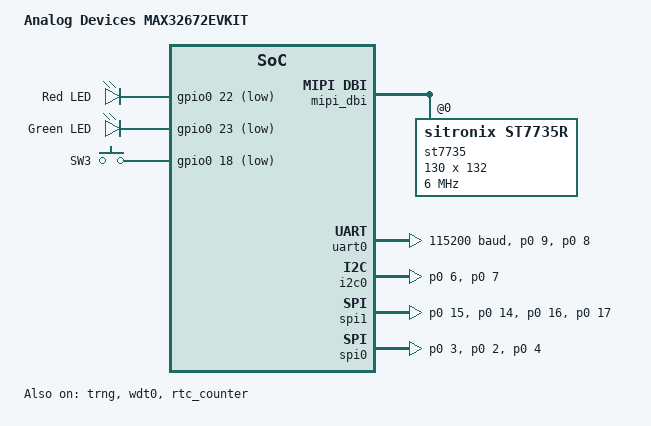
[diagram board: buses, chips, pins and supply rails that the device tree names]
/*
 * Copyright (c) 2024 Analog Devices, Inc.
 *
 * SPDX-License-Identifier: Apache-2.0
 */

/dts-v1/;

#include <adi/max32/max32672.dtsi>
#include <adi/max32/max32672-pinctrl.dtsi>
#include <zephyr/dt-bindings/gpio/adi-max32-gpio.h>
#include <zephyr/dt-bindings/input/input-event-codes.h>
#include <zephyr/dt-bindings/mipi_dbi/mipi_dbi.h>

/ {
	model = "Analog Devices MAX32672EVKIT";
	compatible = "adi,max32672evkit";

	chosen {
		zephyr,console = &uart0;
		zephyr,shell-uart = &uart0;
		zephyr,sram = &sram3;
		zephyr,flash = &flash0;
		zephyr,display = &st7735;
	};

	leds {
		compatible = "gpio-leds";
		led1: led_1 {
			gpios = <&gpio0 22 GPIO_ACTIVE_LOW>;
			label = "Red LED";
		};
		led2: led_2 {
			gpios = <&gpio0 23 GPIO_ACTIVE_LOW>;
			label = "Green LED";
		};
	};

	buttons {
		compatible = "gpio-keys";
		pb1: pb1 {
			gpios = <&gpio0 18 (GPIO_PULL_UP | GPIO_ACTIVE_LOW)>;
			label = "SW3";
			zephyr,code = <INPUT_KEY_0>;
		};
	};

	 /* These aliases are provided for compatibility with samples */
	aliases {
		led0 = &led1;
		led1 = &led2;
		sw0 = &pb1;
		watchdog0 = &wdt0;
	};

	mipi_dbi {
		compatible = "zephyr,mipi-dbi-spi";
		/* Enable D/C line for 4wire mode */
		/* dc-gpios = <&gpio0 19 (GPIO_ACTIVE_HIGH | MAX32_GPIO_VSEL_VDDIOH)>; */
		spi-dev = <&spi0>;
		#address-cells = <1>;
		#size-cells = <0>;

		status = "okay";

		st7735: st7735@0 {
			compatible = "sitronix,st7735r";
			mipi-max-frequency = <DT_FREQ_M(6)>;
			mipi-mode = "MIPI_DBI_MODE_SPI_3WIRE";

			reg = <0>;
			width = <130>;
			height = <132>;
			x-offset = <0>;
			y-offset = <0>;
			madctl = <0xc0>;
			colmod = <0x05>;
			vmctr1 = <0x51>;
			pwctr1 = [02 02];
			pwctr2 = [c5];
			pwctr3 = [0d 00];
			pwctr4 = [8d 1a];
			pwctr5 = [8d ee];
			frmctr1 = [02 35 36];
			frmctr2 = [02 35 36];
			frmctr3 = [02 35 36 02 35 36];
			gamctrp1 = [0a 1c 0c 14 33 2b 24 28 27 25 2c 39 00 05 03 0d];
			gamctrn1 = [0a 1c 0c 14 33 2b 24 28 27 25 2d 3a 00 05 03 0d];
		};
	};
};

&uart0 {
	pinctrl-0 = <&uart0a_tx_p0_9 &uart0a_rx_p0_8>;
	pinctrl-names = "default";
	current-speed = <115200>;
	data-bits = <8>;
	parity = "none";
	status = "okay";
};

&clk_ipo {
	status = "okay";
};

/*
 * ERTCO is required for counter RTC
 */
&clk_ertco {
	status = "okay";
};

&gpio0 {
	status = "okay";
};

&gpio1 {
	status = "okay";
};

&trng {
	status = "okay";
};

&i2c0 {
	status = "okay";
	pinctrl-0 = <&i2c0a_scl_p0_6 &i2c0a_sda_p0_7>;
	pinctrl-names = "default";
};

&dma0 {
	status = "okay";
};

&wdt0 {
	status = "okay";
};

&spi1 {
	status = "okay";
	pinctrl-0 = <&spi1a_mosi_p0_15 &spi1a_miso_p0_14 &spi1a_sck_p0_16 &spi1a_ss0_p0_17>;
	pinctrl-names = "default";
};

&spi0a_mosi_p0_3 {
	power-source=<MAX32_VSEL_VDDIOH>;
};

&spi0a_sck_p0_4 {
	power-source=<MAX32_VSEL_VDDIOH>;
};

&spi0 {
	status = "okay";
	pinctrl-0 = <&spi0a_mosi_p0_3 &spi0a_miso_p0_2 &spi0a_sck_p0_4>;
	pinctrl-names = "default";
	cs-gpios = <&gpio0 5 (GPIO_ACTIVE_LOW | MAX32_VSEL_VDDIOH)>;
};

&rtc_counter {
	status = "okay";
};
